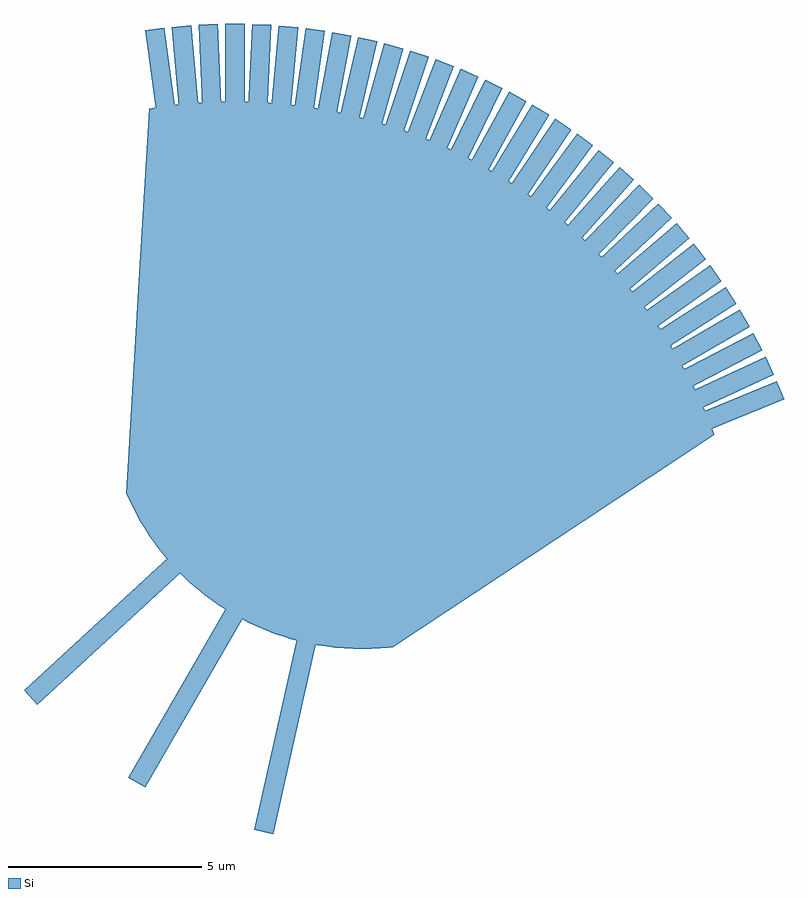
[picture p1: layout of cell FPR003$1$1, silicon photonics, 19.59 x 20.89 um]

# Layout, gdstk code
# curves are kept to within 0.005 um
from math import pi, radians
import gdstk
lib = gdstk.Library(unit=1e-6, precision=1e-09)
def R(c, l, rs):  # rectangles x0, y0, x1, y1
    for r in rs: c.add(gdstk.rectangle(r[:2], r[2:], *l))
def P(c, l, *ps):  # polygons
    for p in ps: c.add(gdstk.Polygon(p, *l))
Si = (1, 0)

taper006_1_1 = lib.new_cell('taper006$1$1')
R(taper006_1_1, Si, [(-2,-0.25,2.5,0.25)])

taper005_1_1 = lib.new_cell('taper005$1$1')
R(taper005_1_1, Si, [(-5,-0.25,2.5,0.25)])

boolean004_1_1 = lib.new_cell('boolean004$1$1')
P(boolean004_1_1, Si, [(3.594,-8.412),(-5.29,-3.97),(-5.484,-3.699),(-5.61,-3.505),(-5.841,-3.106),(-6.043,-2.691),(-6.216,-2.262),(-6.291,-2.044),(-6.419,-1.6),(-6.515,-1.149),(-6.579,-0.691),(-6.611,-0.231),(-6.615,0),(-6.611,0.231),(-6.579,0.691),(-6.515,1.149),(-6.419,1.6),(-6.291,2.044),(-6.216,2.262),(-6.043,2.691),(-5.841,3.106),(-5.61,3.505),(-5.484,3.699),(-5.29,3.97),(3.594,8.412),(3.81,8.145),(4.088,7.776),(4.353,7.398),(4.605,7.011),(4.843,6.615),(5.066,6.211),(5.276,5.8),(5.471,5.381),(5.652,4.956),(5.817,4.525),(5.967,4.088),(6.102,3.647),(6.222,3.201),(6.326,2.751),(6.414,2.297),(6.486,1.841),(6.543,1.383),(6.583,0.923),(6.607,0.462),(6.615,0),(6.607,-0.462),(6.583,-0.923),(6.543,-1.383),(6.486,-1.841),(6.414,-2.297),(6.326,-2.751),(6.222,-3.201),(6.102,-3.647),(5.967,-4.088),(5.817,-4.525),(5.652,-4.956),(5.471,-5.381),(5.276,-5.8),(5.066,-6.211),(4.843,-6.615),(4.605,-7.011),(4.353,-7.398),(4.088,-7.776),(3.81,-8.145)])

fpr003_1_1 = lib.new_cell('FPR003$1$1')
fpr003_1_1.add(gdstk.Reference(taper006_1_1, (17.301,5.253), rotation=radians(236.102)))
fpr003_1_1.add(gdstk.Reference(taper006_1_1, (20.36,2.4), rotation=radians(217.9113)))
fpr003_1_1.add(gdstk.Reference(taper006_1_1, (14.643,6.63), rotation=radians(249.0953)))
fpr003_1_1.add(gdstk.Reference(taper006_1_1, (8.751,7.449), rotation=radians(275.0821)))
fpr003_1_1.add(gdstk.Reference(taper006_1_1, (14.078,6.832), rotation=radians(251.694)))
fpr003_1_1.add(gdstk.Reference(taper006_1_1, (19.581,3.312), rotation=radians(223.1086)))
fpr003_1_1.add(gdstk.Reference(taper006_1_1, (20.718,1.919), rotation=radians(215.3126)))
fpr003_1_1.add(gdstk.Reference(taper006_1_1, (10.549,7.486), rotation=radians(267.286)))
fpr003_1_1.add(gdstk.Reference(taper006_1_1, (17.791,4.907), rotation=radians(233.5033)))
fpr003_1_1.add(gdstk.Reference(taper006_1_1, (11.147,7.444), rotation=radians(264.6874)))
fpr003_1_1.add(gdstk.Reference(taper006_1_1, (9.949,7.501), rotation=radians(269.8847)))
fpr003_1_1.add(gdstk.Reference(taper006_1_1, (21.054,1.421), rotation=radians(212.714)))
fpr003_1_1.add(gdstk.Reference(taper006_1_1, (21.656,0.384), rotation=radians(207.5166)))
fpr003_1_1.add(gdstk.Reference(taper006_1_1, (18.722,4.15), rotation=radians(228.306)))
fpr003_1_1.add(gdstk.Reference(taper005_1_1, (11.786,-6.455), rotation=radians(77.3897), x_reflection=True))
fpr003_1_1.add(gdstk.Reference(taper006_1_1, (9.349,7.489), rotation=radians(272.4834)))
fpr003_1_1.add(gdstk.Reference(taper006_1_1, (21.367,0.909), rotation=radians(210.1153)))
fpr003_1_1.add(gdstk.Reference(taper005_1_1, (9.923,-5.729), rotation=radians(60), x_reflection=True))
fpr003_1_1.add(gdstk.Reference(taper006_1_1, (12.336,7.279), rotation=radians(259.49)))
fpr003_1_1.add(gdstk.Reference(taper005_1_1, (8.362,-4.478), rotation=radians(42.6103), x_reflection=True))
fpr003_1_1.add(gdstk.Reference(taper006_1_1, (15.199,6.404), rotation=radians(246.4967)))
fpr003_1_1.add(gdstk.Reference(taper006_1_1, (19.161,3.741), rotation=radians(225.7073)))
fpr003_1_1.add(gdstk.Reference(taper006_1_1, (12.923,7.156), rotation=radians(256.8914)))
fpr003_1_1.add(gdstk.Reference(taper006_1_1, (22.161,-0.704), rotation=radians(202.3193)))
fpr003_1_1.add(gdstk.Reference(taper006_1_1, (16.796,5.576), rotation=radians(238.7007)))
fpr003_1_1.add(gdstk.Reference(taper006_1_1, (21.921,-0.155), rotation=radians(204.9179)))
fpr003_1_1.add(gdstk.Reference(boolean004_1_1, (13.23,0), rotation=radians(60), x_reflection=True))
fpr003_1_1.add(gdstk.Reference(taper006_1_1, (11.743,7.375), rotation=radians(262.0887)))
fpr003_1_1.add(gdstk.Reference(taper006_1_1, (15.743,6.152), rotation=radians(243.898)))
fpr003_1_1.add(gdstk.Reference(taper006_1_1, (18.266,4.539), rotation=radians(230.9047)))
fpr003_1_1.add(gdstk.Reference(taper006_1_1, (16.276,5.876), rotation=radians(241.2993)))
fpr003_1_1.add(gdstk.Reference(taper006_1_1, (19.981,2.865), rotation=radians(220.51)))
fpr003_1_1.add(gdstk.Reference(taper006_1_1, (13.504,7.007), rotation=radians(254.2927)))
fpr003_1_1.add(gdstk.Reference(taper006_1_1, (8.154,7.383), rotation=radians(277.6807)))

lib.write_gds('FPR003_1_1.gds')
